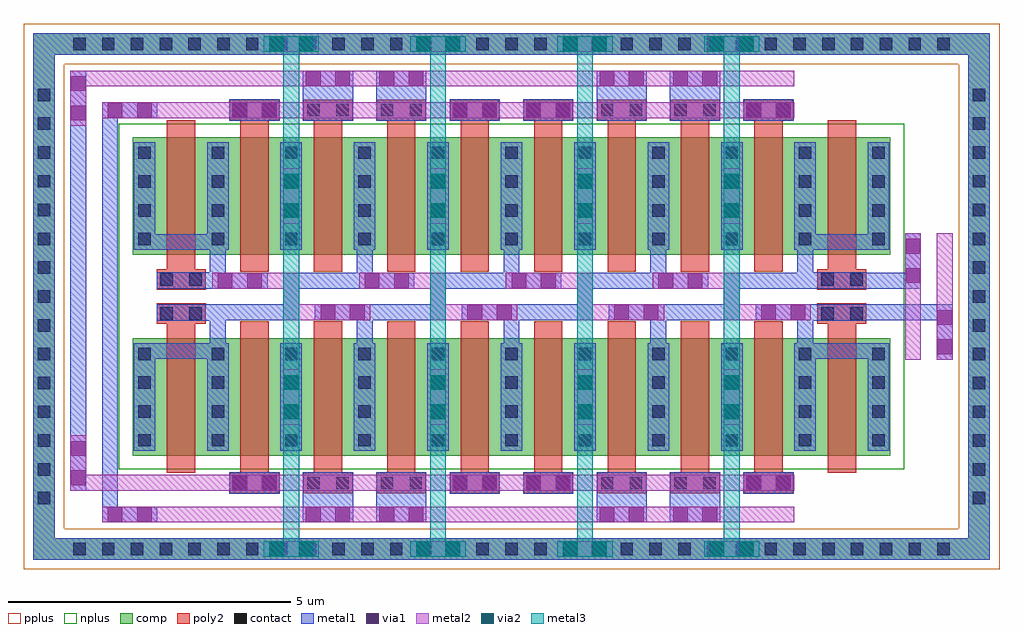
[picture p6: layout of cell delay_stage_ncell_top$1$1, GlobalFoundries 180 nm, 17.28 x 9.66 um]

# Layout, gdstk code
from math import pi, radians
import gdstk
lib = gdstk.Library(unit=1e-6, precision=5e-09)
def R(c, l, rs):  # rectangles x0, y0, x1, y1
    for r in rs: c.add(gdstk.rectangle(r[:2], r[2:], *l))
def A(c, l, x, y, w, h, nx, ny, dx, dy):  # array of equal rectangles
    R(c, l, [(x+i*dx, y+j*dy, x+i*dx+w, y+j*dy+h) for i in range(nx) for j in range(ny)])
comp = (22, 0)
poly2 = (30, 0)
pplus = (31, 0)
nplus = (32, 0)
contact = (33, 0)
metal1 = (34, 0)
via1 = (35, 0)
metal2 = (36, 0)
via2 = (38, 0)
metal3 = (42, 0)

delay_stage_ncell_1_1_2_ = lib.new_cell('delay_stage_ncell_1$1$2$1$1$1')
R(delay_stage_ncell_1_1_2_, comp, [(0,0.3,0.42,2.38), (0.42,0.3,1.3,2.38), (1.3,0.3,1.72,2.38)])
R(delay_stage_ncell_1_1_2_, poly2, [(0.61,0,1.11,2.68)])
A(delay_stage_ncell_1_1_2_, contact, 0.1, 0.465, 0.22, 0.22, 1, 4, 0, 0.51)
A(delay_stage_ncell_1_1_2_, contact, 1.4, 0.465, 0.22, 0.22, 1, 4, 0, 0.51)
R(delay_stage_ncell_1_1_2_, metal1, [(0.02,0.385,0.4,2.295), (1.32,0.385,1.7,2.295)])

delay_stage_ncell_4_1_1_ = lib.new_cell('delay_stage_ncell_4$1$1$1$1')
A(delay_stage_ncell_4_1_1_, poly2, 0.425, 2.675, 0.87, 0.36, 4, 1, 1.3, 0)
R(delay_stage_ncell_4_1_1_, contact, [(0.495,2.745,0.715,2.965), (1.005,2.745,1.225,2.965), (1.795,2.745,2.015,2.965), (2.305,2.745,2.525,2.965), (3.095,2.745,3.315,2.965), (3.605,2.745,3.825,2.965), (4.395,2.745,4.615,2.965), (4.905,2.745,5.125,2.965)])
A(delay_stage_ncell_4_1_1_, metal1, 0.415, 2.665, 0.89, 0.38, 4, 1, 1.3, 0)
delay_stage_ncell_4_1_1_.add(gdstk.Reference(delay_stage_ncell_1_1_2_, (0,-0.005)))
delay_stage_ncell_4_1_1_.add(gdstk.Reference(delay_stage_ncell_1_1_2_, (1.3,-0.005)))
delay_stage_ncell_4_1_1_.add(gdstk.Reference(delay_stage_ncell_1_1_2_, (2.6,-0.005)))
delay_stage_ncell_4_1_1_.add(gdstk.Reference(delay_stage_ncell_1_1_2_, (3.9,-0.005)))

delay_stage_ncell_4_2_1_ = lib.new_cell('delay_stage_ncell_4_2$1$1$1')
R(delay_stage_ncell_4_2_1_, metal1, [(1.715,0,2.605,0.51), (3.015,0,3.905,0.51), (1.715,7.49,2.605,8), (3.015,7.49,3.905,8)])
R(delay_stage_ncell_4_2_1_, via1, [(1.77,0.01,2.03,0.27), (2.29,0.01,2.55,0.27), (3.07,0.01,3.33,0.27), (3.59,0.01,3.85,0.27), (0.47,0.57,0.73,0.83), (0.99,0.57,1.25,0.83), (4.37,0.57,4.63,0.83), (4.89,0.57,5.15,0.83), (1.38,1.83,1.64,2.09), (3.98,1.83,4.24,2.09), (1.38,2.35,1.64,2.61), (3.98,2.35,4.24,2.61), (2.03,3.59,2.29,3.85), (2.55,3.59,2.81,3.85), (4.63,3.59,4.89,3.85), (5.15,3.59,5.41,3.85), (0.21,4.15,0.47,4.41), (0.73,4.15,0.99,4.41), (2.81,4.15,3.07,4.41), (3.33,4.15,3.59,4.41), (1.38,5.39,1.64,5.65), (3.98,5.39,4.24,5.65), (1.38,5.91,1.64,6.17), (3.98,5.91,4.24,6.17), (0.47,7.17,0.73,7.43), (0.99,7.17,1.25,7.43), (4.37,7.17,4.63,7.43), (4.89,7.17,5.15,7.43), (1.77,7.73,2.03,7.99), (2.29,7.73,2.55,7.99), (3.07,7.73,3.33,7.99), (3.59,7.73,3.85,7.99)])
R(delay_stage_ncell_4_2_1_, via2, [(1.38,1.83,1.64,2.09), (3.98,1.83,4.24,2.09), (1.38,2.35,1.64,2.61), (3.98,2.35,4.24,2.61), (1.38,5.39,1.64,5.65), (3.98,5.39,4.24,5.65), (1.38,5.91,1.64,6.17), (3.98,5.91,4.24,6.17)])
delay_stage_ncell_4_2_1_.add(gdstk.FlexPath([(2.81,4.825),(2.81,4.42)], 0.28, ends="flush", simple_path=True, layer=34, datatype=0))  # metal1
delay_stage_ncell_4_2_1_.add(gdstk.FlexPath([(2.81,3.175),(2.81,3.58)], 0.28, ends="flush", simple_path=True, layer=34, datatype=0))  # metal1
delay_stage_ncell_4_2_1_.add(gdstk.FlexPath([(0.21,3.175),(0.21,3.58)], 0.28, ends="flush", simple_path=True, layer=34, datatype=0))  # metal1
delay_stage_ncell_4_2_1_.add(gdstk.FlexPath([(0.21,4.825),(0.21,4.42)], 0.28, ends="flush", simple_path=True, layer=34, datatype=0))  # metal1
delay_stage_ncell_4_2_1_.add(gdstk.FlexPath([(2.91,4.28),(1.51,4.28),(1.51,3.72),(0.07,3.72)], 0.28, ends="flush", simple_path=True, layer=34, datatype=0))  # metal1
delay_stage_ncell_4_2_1_.add(gdstk.FlexPath([(1.09,4.28),(0.07,4.28)], 0.28, ends="flush", simple_path=True, layer=34, datatype=0))  # metal1
delay_stage_ncell_4_2_1_.add(gdstk.FlexPath([(5.41,3.175),(5.41,3.58)], 0.28, ends="flush", simple_path=True, layer=34, datatype=0))  # metal1
delay_stage_ncell_4_2_1_.add(gdstk.FlexPath([(5.55,4.28),(4.11,4.28),(4.11,3.72),(2.71,3.72)], 0.28, ends="flush", simple_path=True, layer=34, datatype=0))  # metal1
delay_stage_ncell_4_2_1_.add(gdstk.FlexPath([(3.69,4.28),(2.71,4.28)], 0.28, ends="flush", simple_path=True, layer=34, datatype=0))  # metal1
delay_stage_ncell_4_2_1_.add(gdstk.FlexPath([(5.41,4.825),(5.41,4.42)], 0.28, ends="flush", simple_path=True, layer=34, datatype=0))  # metal1
delay_stage_ncell_4_2_1_.add(gdstk.FlexPath([(2.81,3.175),(2.81,3.58)], 0.28, ends="flush", simple_path=True, layer=34, datatype=0))  # metal1
delay_stage_ncell_4_2_1_.add(gdstk.FlexPath([(5.55,3.72),(4.53,3.72)], 0.28, ends="flush", simple_path=True, layer=34, datatype=0))  # metal1
delay_stage_ncell_4_2_1_.add(gdstk.FlexPath([(2.81,4.825),(2.81,4.42)], 0.28, ends="flush", simple_path=True, layer=34, datatype=0))  # metal1
delay_stage_ncell_4_2_1_.add(gdstk.FlexPath([(2.91,3.72),(1.93,3.72)], 0.28, ends="flush", simple_path=True, layer=34, datatype=0))  # metal1
delay_stage_ncell_4_2_1_.add(gdstk.FlexPath([(5.41,7.3),(0.405,7.3)], 0.28, ends="flush", simple_path=True, layer=36, datatype=0))  # metal2
delay_stage_ncell_4_2_1_.add(gdstk.FlexPath([(5.41,7.86),(0.405,7.86)], 0.28, ends="flush", simple_path=True, layer=36, datatype=0))  # metal2
delay_stage_ncell_4_2_1_.add(gdstk.FlexPath([(5.41,0.7),(0.405,0.7)], 0.28, ends="flush", simple_path=True, layer=36, datatype=0))  # metal2
delay_stage_ncell_4_2_1_.add(gdstk.FlexPath([(5.41,0.14),(0.405,0.14)], 0.28, ends="flush", simple_path=True, layer=36, datatype=0))  # metal2
delay_stage_ncell_4_2_1_.add(gdstk.FlexPath([(4.11,5.29),(4.11,6.27)], 0.28, ends="flush", simple_path=True, layer=36, datatype=0))  # metal2
delay_stage_ncell_4_2_1_.add(gdstk.FlexPath([(1.51,5.29),(1.51,6.27)], 0.28, ends="flush", simple_path=True, layer=36, datatype=0))  # metal2
delay_stage_ncell_4_2_1_.add(gdstk.FlexPath([(4.11,1.73),(4.11,2.71)], 0.28, ends="flush", simple_path=True, layer=36, datatype=0))  # metal2
delay_stage_ncell_4_2_1_.add(gdstk.FlexPath([(1.51,1.73),(1.51,2.71)], 0.28, ends="flush", simple_path=True, layer=36, datatype=0))  # metal2
delay_stage_ncell_4_2_1_.add(gdstk.FlexPath([(2.91,3.72),(1.51,3.72),(1.51,4.28),(0.11,4.28)], 0.28, ends="flush", simple_path=True, layer=36, datatype=0))  # metal2
delay_stage_ncell_4_2_1_.add(gdstk.FlexPath([(5.51,3.72),(4.11,3.72),(4.11,4.28),(2.71,4.28)], 0.28, ends="flush", simple_path=True, layer=36, datatype=0))  # metal2
delay_stage_ncell_4_2_1_.add(gdstk.FlexPath([(4.11,5.29),(4.11,6.27)], 0.28, ends="flush", simple_path=True, layer=42, datatype=0))  # metal3
delay_stage_ncell_4_2_1_.add(gdstk.FlexPath([(1.51,5.29),(1.51,6.27)], 0.28, ends="flush", simple_path=True, layer=42, datatype=0))  # metal3
delay_stage_ncell_4_2_1_.add(gdstk.FlexPath([(4.11,1.73),(4.11,2.71)], 0.28, ends="flush", simple_path=True, layer=42, datatype=0))  # metal3
delay_stage_ncell_4_2_1_.add(gdstk.FlexPath([(1.51,1.73),(1.51,2.71)], 0.28, ends="flush", simple_path=True, layer=42, datatype=0))  # metal3
delay_stage_ncell_4_2_1_.add(gdstk.Reference(delay_stage_ncell_4_1_1_, (0,4.445)))
delay_stage_ncell_4_2_1_.add(gdstk.Reference(delay_stage_ncell_4_1_1_, (0,3.555), x_reflection=True))

delay_stage_ncell_1_1_1_ = lib.new_cell('delay_stage_ncell_1$1$1$1$1$1')
R(delay_stage_ncell_1_1_1_, comp, [(0,0.3,0.42,2.38), (0.42,0.3,1.3,2.38), (1.3,0.3,1.72,2.38)])
R(delay_stage_ncell_1_1_1_, poly2, [(0.61,0,1.11,2.68)])
A(delay_stage_ncell_1_1_1_, contact, 0.1, 0.465, 0.22, 0.22, 1, 4, 0, 0.51)
A(delay_stage_ncell_1_1_1_, contact, 1.4, 0.465, 0.22, 0.22, 1, 4, 0, 0.51)
R(delay_stage_ncell_1_1_1_, metal1, [(0.02,0.385,0.4,2.295), (1.32,0.385,1.7,2.295)])

delay_stage_ncell_1_2_1_ = lib.new_cell('delay_stage_ncell_1_2$1$1$1')
R(delay_stage_ncell_1_2_1_, poly2, [(0.425,3.01,1.295,3.37), (0.425,3.61,1.295,3.97)])
R(delay_stage_ncell_1_2_1_, contact, [(0.495,3.08,0.715,3.3), (1.005,3.08,1.225,3.3), (0.495,3.68,0.715,3.9), (1.005,3.68,1.225,3.9)])
R(delay_stage_ncell_1_2_1_, metal1, [(0.21,3.065,1.295,3.07), (0.21,3.91,1.295,3.915)])
delay_stage_ncell_1_2_1_.add(gdstk.FlexPath([(0.4,2.525),(1.32,2.525)], 0.28, ends="flush", simple_path=True, layer=34, datatype=0))  # metal1
delay_stage_ncell_1_2_1_.add(gdstk.FlexPath([(1.295,3.21),(0.21,3.21)], 0.28, ends="flush", simple_path=True, layer=34, datatype=0))  # metal1
delay_stage_ncell_1_2_1_.add(gdstk.FlexPath([(0.4,4.455),(1.32,4.455)], 0.28, ends="flush", simple_path=True, layer=34, datatype=0))  # metal1
delay_stage_ncell_1_2_1_.add(gdstk.FlexPath([(1.295,3.77),(0.21,3.77)], 0.28, ends="flush", simple_path=True, layer=34, datatype=0))  # metal1
delay_stage_ncell_1_2_1_.add(gdstk.Reference(delay_stage_ncell_1_1_1_, (0,3.93)))
delay_stage_ncell_1_2_1_.add(gdstk.Reference(delay_stage_ncell_1_1_1_, (0,3.05), x_reflection=True))

delay_stage_ncell_top_1_ = lib.new_cell('delay_stage_ncell_top$1$1')
R(delay_stage_ncell_top_1_, nplus, [(1.69,1.77,15.59,7.89)])
A(delay_stage_ncell_top_1_, contact, 0.88, 0.25, 0.22, 0.22, 31, 2, 0.51, 8.94)
A(delay_stage_ncell_top_1_, contact, 0.25, 1.15, 0.22, 0.22, 1, 15, 0, 0.51)
A(delay_stage_ncell_top_1_, contact, 16.81, 1.15, 0.22, 0.22, 1, 15, 0, 0.51)
R(delay_stage_ncell_top_1_, via1, [(4.35,0.23,4.61,0.49), (4.87,0.23,5.13,0.49), (6.95,0.23,7.21,0.49), (7.47,0.23,7.73,0.49), (9.55,0.23,9.81,0.49), (10.07,0.23,10.33,0.49), (12.15,0.23,12.41,0.49), (12.67,0.23,12.93,0.49), (1.49,0.84,1.75,1.1), (1.49,0.84,1.75,1.1), (2.01,0.84,2.27,1.1), (2.01,0.84,2.27,1.1), (0.84,1.49,1.1,1.75), (0.84,1.49,1.1,1.75), (0.84,2.01,1.1,2.27), (0.84,2.01,1.1,2.27), (16.18,3.81,16.44,4.07), (16.18,3.81,16.44,4.07), (16.18,4.33,16.44,4.59), (16.18,4.33,16.44,4.59), (15.62,5.07,15.88,5.33), (15.62,5.07,15.88,5.33), (15.62,5.59,15.88,5.85), (15.62,5.59,15.88,5.85), (0.84,7.95,1.1,8.21), (0.84,7.95,1.1,8.21), (1.49,8,1.75,8.26), (1.49,8,1.75,8.26), (2.01,8,2.27,8.26), (2.01,8,2.27,8.26), (0.84,8.47,1.1,8.73), (0.84,8.47,1.1,8.73), (4.35,9.17,4.61,9.43), (4.87,9.17,5.13,9.43), (6.95,9.17,7.21,9.43), (7.47,9.17,7.73,9.43), (9.55,9.17,9.81,9.43), (10.07,9.17,10.33,9.43), (12.15,9.17,12.41,9.43), (12.67,9.17,12.93,9.43)])
R(delay_stage_ncell_top_1_, via2, [(4.35,0.23,4.61,0.49), (4.87,0.23,5.13,0.49), (6.95,0.23,7.21,0.49), (7.47,0.23,7.73,0.49), (9.55,0.23,9.81,0.49), (10.07,0.23,10.33,0.49), (12.15,0.23,12.41,0.49), (12.67,0.23,12.93,0.49), (4.35,9.17,4.61,9.43), (4.87,9.17,5.13,9.43), (6.95,9.17,7.21,9.43), (7.47,9.17,7.73,9.43), (9.55,9.17,9.81,9.43), (10.07,9.17,10.33,9.43), (12.15,9.17,12.41,9.43), (12.67,9.17,12.93,9.43)])
delay_stage_ncell_top_1_.add(gdstk.FlexPath([(16.92,9.49),(16.92,0.36),(0.36,0.36),(0.36,9.3),(16.73,9.3)], 0.38, ends="flush", simple_path=True, layer=34, datatype=0))  # metal1
delay_stage_ncell_top_1_.add(gdstk.FlexPath([(13.98,4.55),(16.17,4.55)], 0.28, ends="flush", simple_path=True, layer=34, datatype=0))  # metal1
delay_stage_ncell_top_1_.add(gdstk.FlexPath([(13.98,5.11),(15.61,5.11)], 0.28, ends="flush", simple_path=True, layer=34, datatype=0))  # metal1
delay_stage_ncell_top_1_.add(gdstk.FlexPath([(16.31,3.71),(16.31,4.69)], 0.28, ends="flush", simple_path=True, layer=34, datatype=0))  # metal1
delay_stage_ncell_top_1_.add(gdstk.FlexPath([(16.31,3.71),(16.31,4.69)], 0.28, ends="flush", simple_path=True, layer=34, datatype=0))  # metal1
delay_stage_ncell_top_1_.add(gdstk.FlexPath([(15.75,4.97),(15.75,5.95)], 0.28, ends="flush", simple_path=True, layer=34, datatype=0))  # metal1
delay_stage_ncell_top_1_.add(gdstk.FlexPath([(15.75,4.97),(15.75,5.95)], 0.28, ends="flush", simple_path=True, layer=34, datatype=0))  # metal1
delay_stage_ncell_top_1_.add(gdstk.FlexPath([(0.97,1.39),(0.97,8.83)], 0.28, ends="flush", simple_path=True, layer=34, datatype=0))  # metal1
delay_stage_ncell_top_1_.add(gdstk.FlexPath([(1.53,1.11),(1.53,8.27)], 0.28, ends="flush", simple_path=True, layer=34, datatype=0))  # metal1
delay_stage_ncell_top_1_.add(gdstk.FlexPath([(0.97,7.85),(0.97,8.83)], 0.28, ends="flush", simple_path=True, layer=34, datatype=0))  # metal1
delay_stage_ncell_top_1_.add(gdstk.FlexPath([(1.39,8.13),(2.37,8.13)], 0.28, ends="flush", simple_path=True, layer=34, datatype=0))  # metal1
delay_stage_ncell_top_1_.add(gdstk.FlexPath([(1.39,0.97),(2.37,0.97)], 0.28, ends="flush", simple_path=True, layer=34, datatype=0))  # metal1
delay_stage_ncell_top_1_.add(gdstk.FlexPath([(0.97,2.37),(0.97,1.39)], 0.28, ends="flush", simple_path=True, layer=34, datatype=0))  # metal1
delay_stage_ncell_top_1_.add(gdstk.FlexPath([(16.92,9.49),(16.92,0.36),(0.36,0.36),(0.36,9.3),(16.73,9.3)], 0.38, ends="flush", simple_path=True, layer=22, datatype=0))  # comp
delay_stage_ncell_top_1_.add(gdstk.FlexPath([(15.75,3.71),(15.75,5.95)], 0.28, ends="flush", simple_path=True, layer=36, datatype=0))  # metal2
delay_stage_ncell_top_1_.add(gdstk.FlexPath([(16.31,3.71),(16.31,5.95)], 0.28, ends="flush", simple_path=True, layer=36, datatype=0))  # metal2
delay_stage_ncell_top_1_.add(gdstk.FlexPath([(12.05,0.36),(13.03,0.36)], 0.28, ends="flush", simple_path=True, layer=36, datatype=0))  # metal2
delay_stage_ncell_top_1_.add(gdstk.FlexPath([(12.05,9.3),(13.03,9.3)], 0.28, ends="flush", simple_path=True, layer=36, datatype=0))  # metal2
delay_stage_ncell_top_1_.add(gdstk.FlexPath([(9.45,0.36),(10.43,0.36)], 0.28, ends="flush", simple_path=True, layer=36, datatype=0))  # metal2
delay_stage_ncell_top_1_.add(gdstk.FlexPath([(9.45,9.3),(10.43,9.3)], 0.28, ends="flush", simple_path=True, layer=36, datatype=0))  # metal2
delay_stage_ncell_top_1_.add(gdstk.FlexPath([(6.85,0.36),(7.83,0.36)], 0.28, ends="flush", simple_path=True, layer=36, datatype=0))  # metal2
delay_stage_ncell_top_1_.add(gdstk.FlexPath([(6.85,9.3),(7.83,9.3)], 0.28, ends="flush", simple_path=True, layer=36, datatype=0))  # metal2
delay_stage_ncell_top_1_.add(gdstk.FlexPath([(4.25,0.36),(5.23,0.36)], 0.28, ends="flush", simple_path=True, layer=36, datatype=0))  # metal2
delay_stage_ncell_top_1_.add(gdstk.FlexPath([(4.25,9.3),(5.23,9.3)], 0.28, ends="flush", simple_path=True, layer=36, datatype=0))  # metal2
delay_stage_ncell_top_1_.add(gdstk.FlexPath([(3.635,1.53),(0.83,1.53)], 0.28, ends="flush", simple_path=True, layer=36, datatype=0))  # metal2
delay_stage_ncell_top_1_.add(gdstk.FlexPath([(3.635,0.97),(2.37,0.97)], 0.28, ends="flush", simple_path=True, layer=36, datatype=0))  # metal2
delay_stage_ncell_top_1_.add(gdstk.FlexPath([(3.635,8.13),(1.67,8.13)], 0.28, ends="flush", simple_path=True, layer=36, datatype=0))  # metal2
delay_stage_ncell_top_1_.add(gdstk.FlexPath([(3.635,8.69),(1.11,8.69)], 0.28, ends="flush", simple_path=True, layer=36, datatype=0))  # metal2
delay_stage_ncell_top_1_.add(gdstk.FlexPath([(0.97,7.85),(0.97,8.83)], 0.28, ends="flush", simple_path=True, layer=36, datatype=0))  # metal2
delay_stage_ncell_top_1_.add(gdstk.FlexPath([(1.39,8.13),(2.37,8.13)], 0.28, ends="flush", simple_path=True, layer=36, datatype=0))  # metal2
delay_stage_ncell_top_1_.add(gdstk.FlexPath([(1.39,0.97),(2.37,0.97)], 0.28, ends="flush", simple_path=True, layer=36, datatype=0))  # metal2
delay_stage_ncell_top_1_.add(gdstk.FlexPath([(0.97,2.37),(0.97,1.39)], 0.28, ends="flush", simple_path=True, layer=36, datatype=0))  # metal2
delay_stage_ncell_top_1_.add(gdstk.FlexPath([(12.05,0.36),(13.03,0.36)], 0.28, ends="flush", simple_path=True, layer=42, datatype=0))  # metal3
delay_stage_ncell_top_1_.add(gdstk.FlexPath([(12.05,9.3),(13.03,9.3)], 0.28, ends="flush", simple_path=True, layer=42, datatype=0))  # metal3
delay_stage_ncell_top_1_.add(gdstk.FlexPath([(12.54,9.16),(12.54,0.5)], 0.28, ends="flush", simple_path=True, layer=42, datatype=0))  # metal3
delay_stage_ncell_top_1_.add(gdstk.FlexPath([(9.45,0.36),(10.43,0.36)], 0.28, ends="flush", simple_path=True, layer=42, datatype=0))  # metal3
delay_stage_ncell_top_1_.add(gdstk.FlexPath([(9.45,9.3),(10.43,9.3)], 0.28, ends="flush", simple_path=True, layer=42, datatype=0))  # metal3
delay_stage_ncell_top_1_.add(gdstk.FlexPath([(9.94,9.16),(9.94,0.5)], 0.28, ends="flush", simple_path=True, layer=42, datatype=0))  # metal3
delay_stage_ncell_top_1_.add(gdstk.FlexPath([(6.85,0.36),(7.83,0.36)], 0.28, ends="flush", simple_path=True, layer=42, datatype=0))  # metal3
delay_stage_ncell_top_1_.add(gdstk.FlexPath([(6.85,9.3),(7.83,9.3)], 0.28, ends="flush", simple_path=True, layer=42, datatype=0))  # metal3
delay_stage_ncell_top_1_.add(gdstk.FlexPath([(7.34,9.16),(7.34,0.5)], 0.28, ends="flush", simple_path=True, layer=42, datatype=0))  # metal3
delay_stage_ncell_top_1_.add(gdstk.FlexPath([(4.25,0.36),(5.23,0.36)], 0.28, ends="flush", simple_path=True, layer=42, datatype=0))  # metal3
delay_stage_ncell_top_1_.add(gdstk.FlexPath([(4.25,9.3),(5.23,9.3)], 0.28, ends="flush", simple_path=True, layer=42, datatype=0))  # metal3
delay_stage_ncell_top_1_.add(gdstk.FlexPath([(4.74,9.16),(4.74,0.5)], 0.28, ends="flush", simple_path=True, layer=42, datatype=0))  # metal3
delay_stage_ncell_top_1_.add(gdstk.FlexPath([(16.92,9.66),(16.92,0.36),(0.36,0.36),(0.36,9.3),(17.28,9.3)], 0.72, ends="flush", simple_path=True, layer=31, datatype=0))  # pplus
delay_stage_ncell_top_1_.add(gdstk.Reference(delay_stage_ncell_4_2_1_, (3.23,0.83)))
delay_stage_ncell_top_1_.add(gdstk.Reference(delay_stage_ncell_4_2_1_, (14.05,8.83), rotation=pi))
delay_stage_ncell_top_1_.add(gdstk.Reference(delay_stage_ncell_1_2_1_, (13.63,1.34)))
delay_stage_ncell_top_1_.add(gdstk.Reference(delay_stage_ncell_1_2_1_, (3.65,1.34), rotation=pi, x_reflection=True))

lib.write_gds('delay_stage_ncell_top_1_1.gds')
